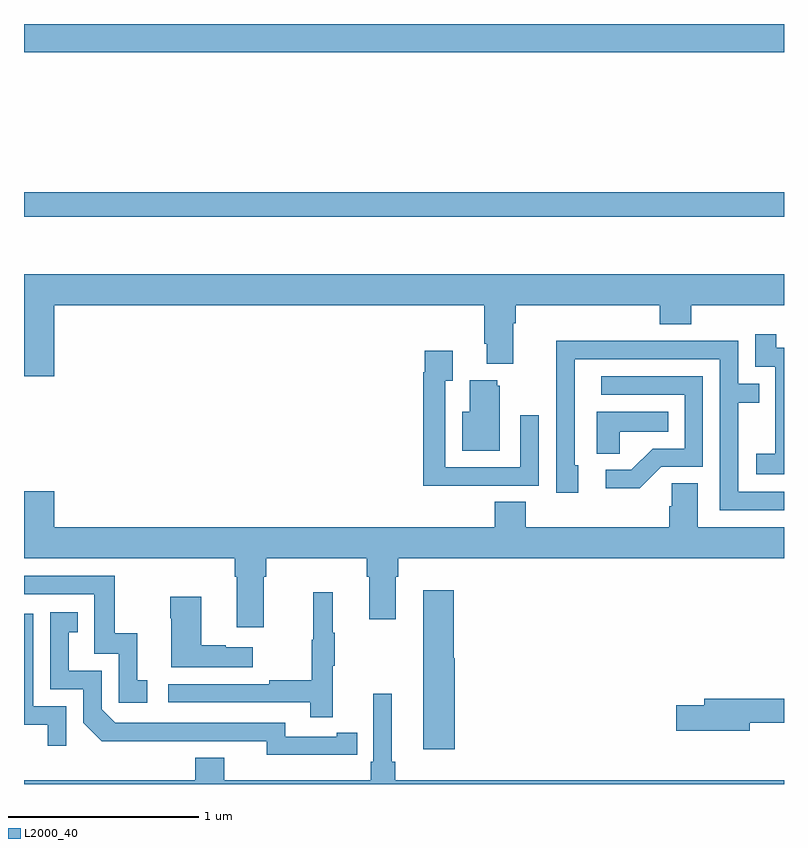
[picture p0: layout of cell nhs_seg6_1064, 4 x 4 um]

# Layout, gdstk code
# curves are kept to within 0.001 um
import gdstk
lib = gdstk.Library(unit=1e-6, precision=1e-09)
def R(c, l, rs):  # rectangles x0, y0, x1, y1
    for r in rs: c.add(gdstk.rectangle(r[:2], r[2:], *l))
def P(c, l, *ps):  # polygons
    for p in ps: c.add(gdstk.Polygon(p, *l))
L2000_40 = (2000, 40)

nhs_seg6_1064 = lib.new_cell('nhs_seg6_1064')
R(nhs_seg6_1064, L2000_40, [(177,930.486,181,930.614), (177,931.352,181,931.5)])
P(nhs_seg6_1064, L2000_40, [(177.16,930.02),(179.423,930.02),(179.423,929.818),(179.435,929.818),(179.435,929.711),(179.575,929.711),(179.575,929.924),(179.588,929.924),(179.588,930.02),(180.347,930.02),(180.347,929.921),(180.512,929.921),(180.512,930.02),(181,930.02),(181,930.184),(177,930.184),(177,929.646),(177.16,929.646)],
  [(181,929.796),(180.958,929.796),(180.958,929.866),(180.849,929.866),(180.849,929.697),(180.954,929.697),(180.954,929.468),(180.953,929.468),(180.953,929.239),(180.855,929.239),(180.855,929.129),(181,929.129)],
  [(181,929.037),(180.759,929.037),(180.759,929.506),(180.869,929.506),(180.869,929.607),(180.759,929.607),(180.759,929.832),(180.263,929.832),(180.263,929.834),(179.8,929.834),(179.8,929.527),(179.802,929.527),(179.802,929.034),(179.917,929.034),(179.917,929.178),(179.898,929.178),(179.898,929.736),(180.663,929.736),(180.663,928.941),(181,928.941)],
  [(179.393,929.07),(179.709,929.07),(179.709,929.44),(179.613,929.44),(179.613,929.166),(179.217,929.166),(179.217,929.623),(179.257,929.623),(179.257,929.779),(179.109,929.779),(179.109,929.666),(179.101,929.666),(179.101,929.069),(179.393,929.069)],
  [(180.354,929.169),(180.573,929.169),(180.573,929.646),(180.039,929.646),(180.039,929.55),(180.477,929.55),(180.477,929.265),(180.308,929.265),(180.197,929.154),(180.063,929.154),(180.063,929.057),(180.241,929.057)],
  [(179.503,929.595),(179.492,929.595),(179.492,929.626),(179.345,929.626),(179.345,929.458),(179.306,929.458),(179.306,929.255),(179.503,929.255)],
  [(180.135,929.354),(180.392,929.354),(180.392,929.458),(180.014,929.458),(180.014,929.239),(180.135,929.239)],
  [(178.261,928.592),(178.274,928.592),(178.274,928.688),(178.805,928.688),(178.805,928.592),(178.817,928.592),(178.817,928.368),(178.957,928.368),(178.957,928.592),(178.97,928.592),(178.97,928.688),(181,928.688),(181,928.852),(180.547,928.852),(180.547,929.084),(180.408,929.084),(180.408,928.961),(180.395,928.961),(180.395,928.852),(179.642,928.852),(179.642,928.985),(179.477,928.985),(179.477,928.852),(177.16,928.852),(177.16,929.041),(177,929.041),(177,928.688),(178.109,928.688),(178.109,928.592),(178.121,928.592),(178.121,928.326),(178.261,928.326)],
  [(177.649,928.047),(177.596,928.047),(177.596,928.294),(177.478,928.294),(177.478,928.596),(177,928.596),(177,928.5),(177.369,928.5),(177.369,928.185),(177.498,928.185),(177.498,927.927),(177.649,927.927)],
  [(179.266,928.161),(179.261,928.161),(179.261,928.519),(179.102,928.519),(179.102,927.684),(179.266,927.684)],
  [(178.625,928.123),(178.636,928.123),(178.636,928.297),(178.625,928.297),(178.625,928.51),(178.522,928.51),(178.522,928.26),(178.515,928.26),(178.515,928.046),(178.291,928.046),(178.291,928.026),(177.759,928.026),(177.759,927.93),(178.507,927.93),(178.507,927.852),(178.625,927.852)],
  [(178.204,928.219),(178.061,928.219),(178.061,928.229),(177.934,928.229),(177.934,928.486),(177.769,928.486),(177.769,928.373),(177.776,928.373),(177.776,928.115),(178.204,928.115)],
  [(178.646,927.654),(178.754,927.654),(178.754,927.77),(178.646,927.77),(178.646,927.75),(178.374,927.75),(178.374,927.822),(177.48,927.822),(177.408,927.894),(177.408,928.095),(177.235,928.095),(177.235,928.299),(177.284,928.299),(177.284,928.405),(177.138,928.405),(177.138,927.999),(177.312,927.999),(177.312,927.822),(177.41,927.725),(178.278,927.726),(178.278,927.653)],
  [(177.222,927.909),(177.048,927.909),(177.048,928.395),(177,928.395),(177,927.813),(177.125,927.813),(177.125,927.702),(177.222,927.702)],
  [(181,927.52),(178.955,927.52),(178.955,927.616),(178.936,927.616),(178.936,927.976),(178.839,927.976),(178.839,927.616),(178.826,927.616),(178.826,927.52),(178.054,927.52),(178.054,927.637),(177.902,927.637),(177.902,927.52),(177,927.52),(177,927.5),(181,927.5)],
  [(180.82,927.822),(181,927.822),(181,927.95),(180.581,927.95),(180.581,927.914),(180.432,927.914),(180.432,927.779),(180.82,927.779)])

lib.write_gds('nhs_seg6_1064.gds')
